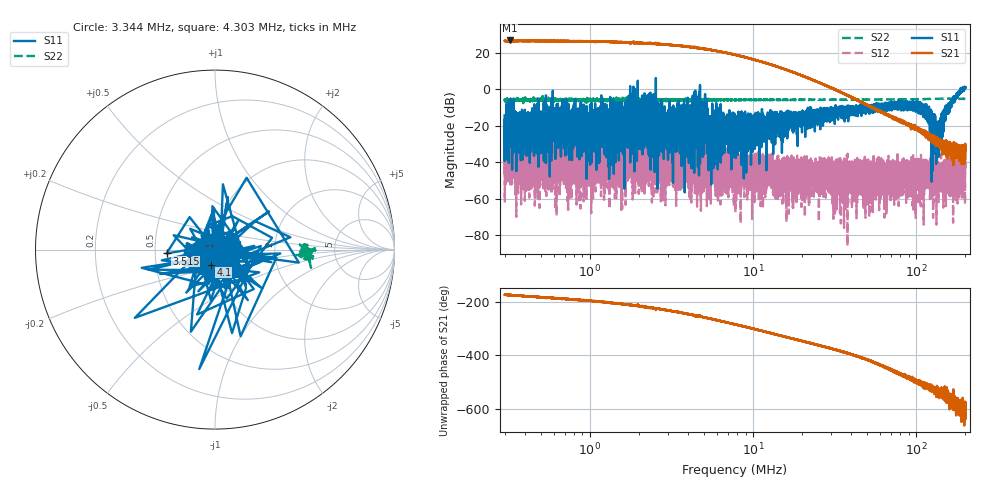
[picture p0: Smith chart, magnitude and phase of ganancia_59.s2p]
# Hz S DB R 50
! CMT, M5065, 19127446, 24.2.4/2
! Date: 11/1/2024 4:50:33 PM
! Data: Format (Calibration Info)
! Freq	S11:dB/Ang(F2)	S21:dB/Ang(F2)	S12:dB/Ang(F2)	S22:dB/Ang(F2)
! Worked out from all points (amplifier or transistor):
!   9000 points, 300 kHz to 200 MHz, reference 50 ohm
!   highest |S21| = 26.8 dB at 322.2 kHz (marker M1)
!   |S21| within 3 dB of that: start of sweep to 3.532 MHz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
!   unconditionally stable (mu >= 1): 5.931 MHz to 187.2 MHz; 188.3 MHz to 189.3 MHz; 190.5169 MHz to 191.2695 MHz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
!   at 886.8 kHz: K = 2.29, MAG = 27.8 dB, |S12| = -42.1 dB
!   at 7.749 MHz: K = 9.63, MAG = 20.2 dB, |S12| = -47.1 dB
!   at 200 MHz: K = -351.96, MSG = 4.0 dB, |S12| = -39.1 dB
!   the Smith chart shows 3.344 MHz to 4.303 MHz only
!   S11 on the Smith chart (normalised r, x): 3.344 MHz: 0.74, -0.02; 3.515 MHz: 0.57, -0.03; 4.1 MHz: 0.94, -0.16; 4.303 MHz: 1.27, +0.08
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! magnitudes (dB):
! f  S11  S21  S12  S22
! 300 kHz  -14.3  26.6  -35.5  -5.9
! 322.2 kHz  -7.4  26.8  -39.1  -6.2
! 886.8 kHz  -24.0  26.3  -42.1  -5.7
! 1.103 MHz  -22.2  26.2  -38.2  -6.1
! 1.18 MHz  -10.4  26.3  -32.9  -5.2
! 1.288 MHz  -23.1  26.0  -49.5  -5.9
! 2.215 MHz  -28.1  25.2  -45.1  -5.9
! 2.366 MHz  -28.1  25.1  -40.0  -6.1
! 2.621 MHz  -23.5  24.8  -46.9  -5.9
! 3.344 MHz  -16.7  24.1  -36.0  -6.1
! 3.515 MHz  -11.3  24.0  -42.3  -5.8
! 4.1 MHz  -21.2  23.2  -42.2  -5.9
! 4.303 MHz  -18.1  22.9  -41.9  -5.8
! 7.749 MHz  -25.7  18.9  -47.1  -5.9
! 22.91 MHz  -12.6  5.3  -40.4  -5.9
! 67.71 MHz  -9.5  -14.5  -58.5  -5.6
! 109.9 MHz  -11.8  -23.0  -53.2  -5.4
! 119.7 MHz  -9.5  -25.7  -47.8  -5.3
! 135 MHz  -32.4  -30.2  -40.9  -5.2
! 154 MHz  -10.6  -28.9  -47.7  -5.2
! 177.9 MHz  -3.3  -32.9  -40.1  -5.2
! 200 MHz  1.1  -31.2  -39.1  -5.3
